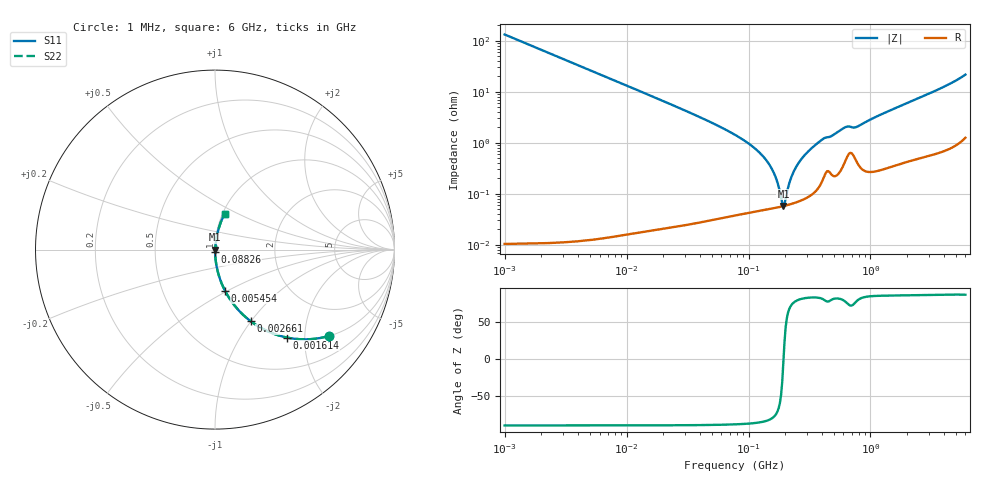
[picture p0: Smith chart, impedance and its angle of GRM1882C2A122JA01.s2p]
!Murata Part Number: GRM1882C2A122JA01
!These Parameters are Measured in Series Mode Connection
!Data Generated on Mar 30, 2021
!  o--ll--o
!Port1  Port2
!  o------o
!Operation Temp=25[degC], DC Bias Voltage=0[V]
!Freq. Start=1000[kHz] Stop=6[GHz] 401[Steps]
# Hz S RI R 50
!Freq.(Hz) S11(Real) S11(Imag) S21(Real) S21(Imag) S12(Real) S12(Imag) S22(Real) S22(Imag)
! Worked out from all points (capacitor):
!   401 points, 1 MHz to 6 GHz, reference 50 ohm
!   read as one part in series: C = 1.2 nF near 1.044 MHz
!   lowest |Z| = 57.1 mohm at 193.1 MHz (marker M1)
!   series resonance near 193.7 MHz, so ESL is about 560 pH
!   S11 on the Smith chart (normalised r, x): 1 MHz: 1.00, -2.64; 1.614 MHz: 1.00, -1.64; 2.661 MHz: 1.00, -0.99; 5.454 MHz: 1.00, -0.48; 88.26 MHz: 1.00, -0.02; 6 GHz: 1.02, +0.43
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1000000  0.6359 -0.4811  0.3641 0.4811  0.3641 0.4811  0.6359 -0.4811
1613609  0.4015 -0.4901  0.5985 0.4901  0.5985 0.4901  0.4015 -0.4901
2660982  0.1978 -0.3983  0.8022 0.3983  0.8022 0.3983  0.1978 -0.3983
4293785  0.0865 -0.281  0.9135 0.281  0.9135 0.281  0.0865 -0.281
5454306  0.0555 -0.2286  0.9445 0.2286  0.9445 0.2286  0.0555 -0.2286
1.843659e7  0.0052 -0.0706  0.9948 0.0706  0.9948 0.0706  0.0052 -0.0706
7.745967e7  0.000575 -0.0142  0.9994 0.0142  0.9994 0.0142  0.000575 -0.0142
8.825674e7  0.000534 -0.0118  0.9995 0.0118  0.9995 0.0118  0.000534 -0.0118
1.196694e8  0.000497 -0.00677  0.9995 0.00677  0.9995 0.00677  0.000497 -0.00677
1.455431e8  0.000508 -0.00393  0.9995 0.00393  0.9995 0.00393  0.000508 -0.00393
1.658303e8  0.000529 -0.00212  0.9995 0.00212  0.9995 0.00212  0.000529 -0.00212
1.848803e8  0.000556 -0.000634  0.9994 0.000634  0.9994 0.000634  0.000556 -0.000634
1.930997e8  0.000569 -4.35e-05  0.9994 4.35e-05  0.9994 4.35e-05  0.000569 -4.35e-05
2.016844e8  0.000585 0.000548  0.9994 -0.000548  0.9994 -0.000548  0.000585 0.000548
2.200158e8  0.000622 0.00174  0.9994 -0.00174  0.9994 -0.00174  0.000622 0.00174
2.400133e8  0.000669 0.00295  0.9993 -0.00295  0.9993 -0.00295  0.000669 0.00295
2.734687e8  0.000767 0.00482  0.9992 -0.00482  0.9992 -0.00482  0.000767 0.00482
3.325952e8  0.00103 0.00789  0.999 -0.00789  0.999 -0.00789  0.00103 0.00789
6.11486e8  0.00433 0.0191  0.9957 -0.0191  0.9957 -0.0191  0.00433 0.0191
7.767579e8  0.00444 0.02  0.9956 -0.02  0.9956 -0.02  0.00444 0.02
1.428092e9  0.005 0.0417  0.995 -0.0417  0.995 -0.0417  0.005 0.0417
6e9  0.0551 0.201  0.9449 -0.201  0.9449 -0.201  0.0551 0.201
